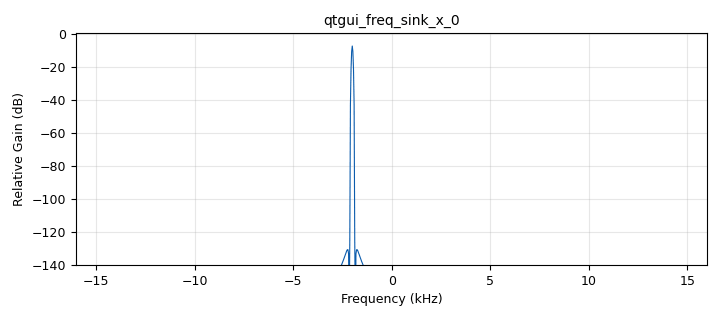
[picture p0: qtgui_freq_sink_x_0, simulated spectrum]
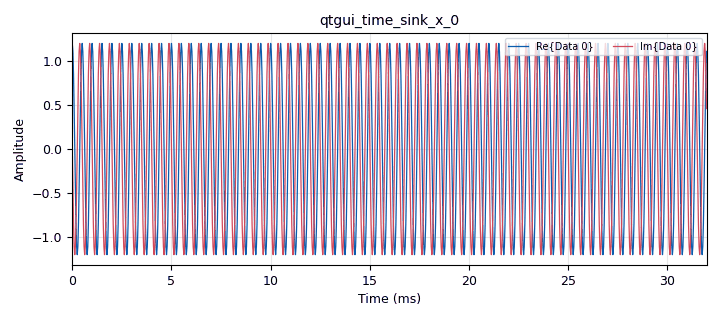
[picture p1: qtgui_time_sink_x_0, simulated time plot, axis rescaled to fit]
<?xml version='1.0' encoding='utf-8'?>
<?grc format='1' created='3.7.13'?>
<flow_graph>
<block>
<key>options</key>
<param><key>id</key><value>fm_receiver_with_fft_gui_grc</value></param>
<param><key>generate_options</key><value>qt_gui</value></param>
</block>
<block>
<key>variable</key>
<param><key>id</key><value>samp_rate</value></param>
<param><key>value</key><value>32e3</value></param>
</block>
<block>
<key>analog_sig_source_x</key>
<param><key>id</key><value>analog_sig_source_x_0</value></param>
<param><key>amp</key><value>1.2</value></param>
<param><key>freq</key><value>-2000</value></param>
<param><key>offset</key><value>0</value></param>
<param><key>type</key><value>complex</value></param>
<param><key>samp_rate</key><value>samp_rate</value></param>
<param><key>waveform</key><value>analog.GR_COS_WAVE</value></param>
</block>
<block>
<key>blocks_complex_to_mag</key>
<param><key>id</key><value>blocks_complex_to_mag_0</value></param>
</block>
<block>
<key>blocks_complex_to_mag_squared</key>
<param><key>id</key><value>blocks_complex_to_mag_squared_0</value></param>
</block>
<block>
<key>blocks_throttle</key>
<param><key>id</key><value>blocks_throttle_0</value></param>
<param><key>samples_per_second</key><value>samp_rate</value></param>
<param><key>type</key><value>complex</value></param>
</block>
<block>
<key>qtgui_freq_sink_x</key>
<param><key>id</key><value>qtgui_freq_sink_x_0</value></param>
<param><key>autoscale</key><value>True</value></param>
<param><key>bw</key><value>samp_rate</value></param>
<param><key>fc</key><value>0</value></param>
<param><key>fftsize</key><value>1024</value></param>
<param><key>showports</key><value>True</value></param>
<param><key>type</key><value>complex</value></param>
<param><key>wintype</key><value>firdes.WIN_BLACKMAN_hARRIS</value></param>
</block>
<block>
<key>qtgui_time_sink_x</key>
<param><key>id</key><value>qtgui_time_sink_x_0</value></param>
<param><key>ctrlpanel</key><value>True</value></param>
<param><key>color1</key><value>"blue"</value></param>
<param><key>label1</key><value></value></param>
<param><key>color2</key><value>"red"</value></param>
<param><key>label2</key><value></value></param>
<param><key>size</key><value>1024</value></param>
<param><key>srate</key><value>samp_rate</value></param>
<param><key>type</key><value>complex</value></param>
</block>
<block>
<key>qtgui_time_sink_x</key>
<param><key>id</key><value>qtgui_time_sink_x_0_0</value></param>
<param><key>ctrlpanel</key><value>True</value></param>
<param><key>color1</key><value>"blue"</value></param>
<param><key>label1</key><value></value></param>
<param><key>size</key><value>1024</value></param>
<param><key>srate</key><value>samp_rate</value></param>
<param><key>type</key><value>float</value></param>
</block>
<block>
<key>qtgui_time_sink_x</key>
<param><key>id</key><value>qtgui_time_sink_x_0_0_0</value></param>
<param><key>ctrlpanel</key><value>True</value></param>
<param><key>color1</key><value>"blue"</value></param>
<param><key>label1</key><value></value></param>
<param><key>size</key><value>1024</value></param>
<param><key>srate</key><value>samp_rate</value></param>
<param><key>type</key><value>float</value></param>
</block>
<connection><source_block_id>analog_sig_source_x_0</source_block_id><sink_block_id>blocks_throttle_0</sink_block_id><source_key>0</source_key><sink_key>0</sink_key></connection>
<connection><source_block_id>blocks_complex_to_mag_0</source_block_id><sink_block_id>qtgui_time_sink_x_0_0</sink_block_id><source_key>0</source_key><sink_key>0</sink_key></connection>
<connection><source_block_id>blocks_complex_to_mag_squared_0</source_block_id><sink_block_id>qtgui_time_sink_x_0_0_0</sink_block_id><source_key>0</source_key><sink_key>0</sink_key></connection>
<connection><source_block_id>blocks_throttle_0</source_block_id><sink_block_id>blocks_complex_to_mag_0</sink_block_id><source_key>0</source_key><sink_key>0</sink_key></connection>
<connection><source_block_id>blocks_throttle_0</source_block_id><sink_block_id>blocks_complex_to_mag_squared_0</sink_block_id><source_key>0</source_key><sink_key>0</sink_key></connection>
<connection><source_block_id>blocks_throttle_0</source_block_id><sink_block_id>qtgui_freq_sink_x_0</sink_block_id><source_key>0</source_key><sink_key>0</sink_key></connection>
<connection><source_block_id>blocks_throttle_0</source_block_id><sink_block_id>qtgui_time_sink_x_0</sink_block_id><source_key>0</source_key><sink_key>0</sink_key></connection>
</flow_graph>
